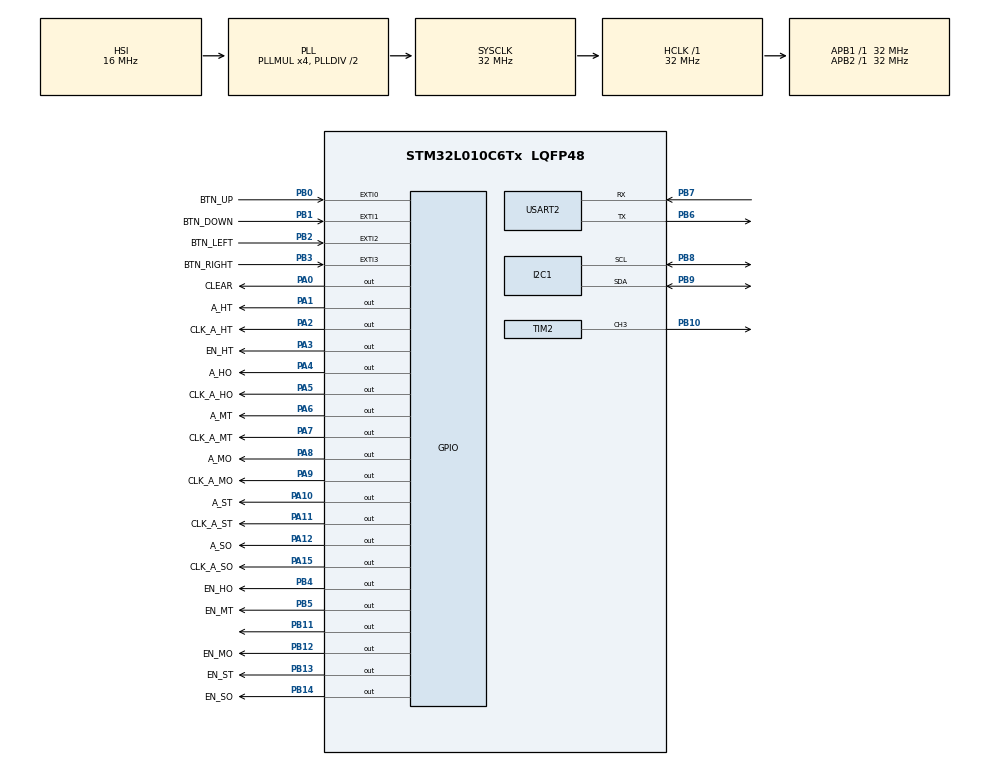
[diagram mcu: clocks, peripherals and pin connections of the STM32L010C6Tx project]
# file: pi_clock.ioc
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I2C1.Timing=0x00707CBB
Mcu.Family=STM32L0
Mcu.Name=STM32L010C6Tx
Mcu.Package=LQFP48
NVIC.EXTI0_1_IRQn=true\:0\:0\:false\:false\:true\:true\:true\:true
NVIC.EXTI2_3_IRQn=true\:0\:0\:false\:false\:true\:true\:true\:true
NVIC.TIM21_IRQn=true\:0\:0\:false\:false\:true\:true\:true\:true
PA0.GPIO_Label=CLEAR
PA0.GPIO_Speed=GPIO_SPEED_FREQ_HIGH
PA0.PinState=GPIO_PIN_RESET
PA0.Signal=GPIO_Output
PA1.GPIO_Label=A_HT
PA1.GPIO_Speed=GPIO_SPEED_FREQ_HIGH
PA1.PinState=GPIO_PIN_RESET
PA1.Signal=GPIO_Output
PA10.GPIO_Label=A_ST
PA10.GPIO_Speed=GPIO_SPEED_FREQ_HIGH
PA10.PinState=GPIO_PIN_RESET
PA10.Signal=GPIO_Output
PA11.GPIO_Label=CLK_A_ST
PA11.GPIO_Speed=GPIO_SPEED_FREQ_HIGH
PA11.PinState=GPIO_PIN_RESET
PA11.Signal=GPIO_Output
PA12.GPIO_Label=A_SO
PA12.GPIO_Speed=GPIO_SPEED_FREQ_HIGH
PA12.PinState=GPIO_PIN_RESET
PA12.Signal=GPIO_Output
PA15.GPIO_Label=CLK_A_SO
PA15.GPIO_Speed=GPIO_SPEED_FREQ_HIGH
PA15.PinState=GPIO_PIN_RESET
PA15.Signal=GPIO_Output
PA2.GPIO_Label=CLK_A_HT
PA2.GPIO_Speed=GPIO_SPEED_FREQ_HIGH
PA2.PinState=GPIO_PIN_RESET
PA2.Signal=GPIO_Output
PA3.GPIO_Label=EN_HT
PA3.GPIO_Speed=GPIO_SPEED_FREQ_VERY_HIGH
PA3.PinState=GPIO_PIN_RESET
PA3.Signal=GPIO_Output
PA4.GPIO_Label=A_HO
PA4.GPIO_Speed=GPIO_SPEED_FREQ_HIGH
PA4.PinState=GPIO_PIN_RESET
PA4.Signal=GPIO_Output
PA5.GPIO_Label=CLK_A_HO
PA5.GPIO_Speed=GPIO_SPEED_FREQ_HIGH
PA5.PinState=GPIO_PIN_RESET
PA5.Signal=GPIO_Output
PA6.GPIO_Label=A_MT
PA6.GPIO_Speed=GPIO_SPEED_FREQ_HIGH
PA6.PinState=GPIO_PIN_RESET
PA6.Signal=GPIO_Output
PA7.GPIO_Label=CLK_A_MT
PA7.GPIO_Speed=GPIO_SPEED_FREQ_HIGH
PA7.PinState=GPIO_PIN_RESET
PA7.Signal=GPIO_Output
PA8.GPIO_Label=A_MO
PA8.GPIO_Speed=GPIO_SPEED_FREQ_HIGH
PA8.PinState=GPIO_PIN_RESET
PA8.Signal=GPIO_Output
PA9.GPIO_Label=CLK_A_MO
PA9.GPIO_Speed=GPIO_SPEED_FREQ_HIGH
PA9.PinState=GPIO_PIN_RESET
PA9.Signal=GPIO_Output
PB0.GPIO_Label=BTN_UP
PB0.GPIO_ModeDefaultEXTI=GPIO_MODE_IT_RISING
PB0.GPIO_PuPd=GPIO_NOPULL
PB0.Signal=GPXTI0
PB1.GPIO_Label=BTN_DOWN
PB1.GPIO_ModeDefaultEXTI=GPIO_MODE_IT_RISING
PB1.Signal=GPXTI1
PB10.Signal=S_TIM2_CH3
PB11.Signal=GPIO_Output
PB12.GPIO_Label=EN_MO
PB12.GPIO_Speed=GPIO_SPEED_FREQ_HIGH
PB12.Signal=GPIO_Output
PB13.GPIO_Label=EN_ST
PB13.GPIO_Speed=GPIO_SPEED_FREQ_HIGH
PB13.Signal=GPIO_Output
PB14.GPIO_Label=EN_SO
PB14.GPIO_Speed=GPIO_SPEED_FREQ_HIGH
PB14.Signal=GPIO_Output
PB2.GPIO_Label=BTN_LEFT
PB2.GPIO_ModeDefaultEXTI=GPIO_MODE_IT_RISING
PB2.Signal=GPXTI2
PB3.GPIO_Label=BTN_RIGHT
PB3.GPIO_ModeDefaultEXTI=GPIO_MODE_IT_RISING
PB3.Signal=GPXTI3
PB4.GPIO_Label=EN_HO
PB4.GPIO_ModeDefaultOutputPP=GPIO_MODE_OUTPUT_PP
PB4.GPIO_Speed=GPIO_SPEED_FREQ_HIGH
PB4.Signal=GPIO_Output
PB5.GPIO_Label=EN_MT
PB5.GPIO_Speed=GPIO_SPEED_FREQ_HIGH
PB5.Signal=GPIO_Output
PB6.Mode=Asynchronous
PB6.Signal=USART2_TX
PB7.Mode=Asynchronous
PB7.Signal=USART2_RX
PB8.Mode=I2C
PB8.Signal=I2C1_SCL
PB9.Mode=I2C
PB9.Signal=I2C1_SDA
PC14-OSC32_IN.Mode=LSE-External-Oscillator
PC14-OSC32_IN.Signal=RCC_OSC32_IN
PC15-OSC32_OUT.Mode=LSE-External-Oscillator
PC15-OSC32_OUT.Signal=RCC_OSC32_OUT
ProjectManager.HeapSize=0x200
ProjectManager.StackSize=0x400
ProjectManager.TargetToolchain=STM32CubeIDE
RCC.AHBFreq_Value=32000000
RCC.APB1Freq_Value=32000000
RCC.APB1TimFreq_Value=32000000
RCC.APB2Freq_Value=32000000
RCC.APB2TimFreq_Value=32000000
RCC.HCLKFreq_Value=32000000
RCC.HSE_VALUE=8000000
RCC.HSI16_VALUE=16000000
RCC.HSI_VALUE=16000000
RCC.MSI_VALUE=2097000
RCC.PLLMUL=RCC_PLLMUL_4
RCC.RTCClockSelection=RCC_RTCCLKSOURCE_LSE
RCC.RTCClockSelectionVirtual=RCC_RTCCLKSOURCE_LSE
RCC.SYSCLKFreq_VALUE=32000000
RCC.SYSCLKSource=RCC_SYSCLKSOURCE_PLLCLK
RCC.VCOOutputFreq_Value=64000000
RTC.Year=25
SH.S_TIM2_CH3.0=TIM2_CH3,PWM Generation3 CH3
TIM2.AutoReloadPreload=TIM_AUTORELOAD_PRELOAD_ENABLE
TIM2.Channel-PWM\ Generation3\ CH3=TIM_CHANNEL_3
TIM2.Period=999
TIM2.Prescaler=31
TIM2.Pulse-PWM\ Generation3\ CH3=499
TIM21.Channel-Output\ Compare1\ No\ Output=TIM_CHANNEL_1
TIM21.Period=1000
TIM21.Prescaler=31
USART2.VirtualMode=VM_ASYNC
VP_RTC_VS_RTC_Activate.Mode=RTC_Enabled
VP_RTC_VS_RTC_Calendar.Mode=RTC_Calendar
VP_TIM21_VS_ClockSourceINT.Mode=Internal
VP_TIM21_VS_no_output1.Mode=Output Compare1 No Output
VP_TIM2_VS_ClockSourceINT.Mode=Internal
board=custom

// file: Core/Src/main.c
/* USER CODE BEGIN Header */
/**
 ******************************************************************************
 * @file           : main.c
 * @brief          : Main program body
 ******************************************************************************
 * @attention
 *
 * Copyright (c) 2024 STMicroelectronics.
 * All rights reserved.
 *
 * This software is licensed under terms that can be found in the LICENSE file
 * in the root directory of this software component.
 * If no LICENSE file comes with this software, it is provided AS-IS.
 *
 ******************************************************************************
 */
/* USER CODE END Header */
#include "main.h"

/* USER CODE BEGIN Includes */

#include "7_segment.h"
#include "critical_section.h"
#include "button.h"
#include "pi_serial.h"

/* USER CODE END Includes */

I2C_HandleTypeDef hi2c1;

RTC_HandleTypeDef hrtc;

TIM_HandleTypeDef htim2;
TIM_HandleTypeDef htim21;

UART_HandleTypeDef huart2;

void SystemClock_Config(void);
static void MX_GPIO_Init(void);
static void MX_I2C1_Init(void);
static void MX_RTC_Init(void);
static void MX_TIM2_Init(void);
static void MX_USART2_UART_Init(void);
static void MX_TIM21_Init(void);

/* USER CODE BEGIN 0 */
uint8_t ext_btn_up_value;
uint8_t ext_btn_down_value;
uint8_t ext_btn_left_value;
uint8_t ext_btn_right_value;
uint32_t clock_value;

/* USER CODE END 0 */

int main(void)
{
  /* USER CODE BEGIN 1 */
	clock_value = 0;

  /* USER CODE END 1 */

  /* MCU Configuration--------------------------------------------------------*/

  /* Reset of all peripherals, Initializes the Flash interface and the Systick. */
  HAL_Init();

  /* Configure the system clock */
  SystemClock_Config();

  /* Initialize all configured peripherals */
  MX_GPIO_Init();
  MX_I2C1_Init();
  MX_RTC_Init();
  MX_TIM2_Init();
  MX_USART2_UART_Init();
  MX_TIM21_Init();
  /* USER CODE BEGIN 2 */

  	  char rx_buffer[64];
  	  char tx_buffer[16];
  	  char time_buffer[32];
  	  char date_buffer[32];

	HAL_GPIO_WritePin(EN_HO_GPIO_Port, EN_HO_Pin, 0);
	HAL_GPIO_WritePin(EN_HT_GPIO_Port, EN_HT_Pin, 0);
	HAL_GPIO_WritePin(EN_MO_GPIO_Port, EN_MO_Pin, 0);
	HAL_GPIO_WritePin(EN_MT_GPIO_Port, EN_MT_Pin, 0);
	HAL_GPIO_WritePin(EN_SO_GPIO_Port, EN_SO_Pin, 0);
	HAL_GPIO_WritePin(EN_ST_GPIO_Port, EN_ST_Pin, 0);

	HAL_GPIO_WritePin(A_HT_GPIO_Port, A_HT_Pin, 1);
	HAL_GPIO_WritePin(CLEAR_GPIO_Port, CLEAR_Pin, 1);

	RTC_TimeTypeDef sTimeStamp;
	RTC_DateTypeDef sTimeStampDate;

	sTimeStamp.Hours = 23;
	sTimeStamp.Minutes = 59;
	sTimeStamp.Seconds = 58;

	sTimeStamp.DayLightSaving = RTC_DAYLIGHTSAVING_NONE;
	sTimeStamp.StoreOperation = RTC_STOREOPERATION_SET;

	sTimeStamp.StoreOperation = RTC_STOREOPERATION_SET;
	HAL_StatusTypeDef result;

	result = HAL_RTC_SetTime(&hrtc, &sTimeStamp, RTC_FORMAT_BIN);
	if(result != HAL_OK){
		while(1);
	}

	seven_segment hour_ten;
	seven_segment hour_one;
	seven_segment minute_ten;
	seven_segment minute_one;
	seven_segment second_ten;
	seven_segment second_one;

	display_segment disp_hour;
	display_segment disp_minute;
	display_segment disp_second;

	hour_ten.a_port = A_HT_GPIO_Port;
	hour_ten.a_pin = A_HT_Pin;
	hour_ten.clock_port = CLK_A_HT_GPIO_Port;
	hour_ten.clock_pin = CLK_A_HT_Pin;
	hour_ten.enable_port = EN_HT_GPIO_Port;
	hour_ten.enable_pin = EN_HT_Pin;
	hour_ten.enable_segment = 1;

	hour_one.a_port = A_HO_GPIO_Port;
	hour_one.a_pin = A_HO_Pin;
	hour_one.clock_port = CLK_A_HO_GPIO_Port;
	hour_one.clock_pin = CLK_A_HO_Pin;
	hour_one.enable_port = EN_HO_GPIO_Port;
	hour_one.enable_pin = EN_HO_Pin;
	hour_one.enable_segment = 1;

	minute_ten.a_port = A_MT_GPIO_Port;
	minute_ten.a_pin = A_MT_Pin;
	minute_ten.clock_port = CLK_A_MT_GPIO_Port;
	minute_ten.clock_pin = CLK_A_MT_Pin;
	minute_ten.enable_port = EN_MT_GPIO_Port;
	minute_ten.enable_pin = EN_MT_Pin;
	minute_ten.enable_segment = 1;

	minute_one.a_port = A_MO_GPIO_Port;
	minute_one.a_pin = A_MO_Pin;
	minute_one.clock_port = CLK_A_MO_GPIO_Port;
	minute_one.clock_pin = CLK_A_MO_Pin;
	minute_one.enable_port = EN_MO_GPIO_Port;
	minute_one.enable_pin = EN_MO_Pin;
	minute_one.enable_segment = 1;

	second_ten.a_port = A_ST_GPIO_Port;
	second_ten.a_pin = A_ST_Pin;
	second_ten.clock_port = CLK_A_ST_GPIO_Port;
	second_ten.clock_pin = CLK_A_ST_Pin;
	second_ten.enable_port = EN_ST_GPIO_Port;
	second_ten.enable_pin = EN_ST_Pin;
	second_ten.enable_segment = 1;

	second_one.a_port = A_SO_GPIO_Port;
	second_one.a_pin = A_SO_Pin;
	second_one.clock_port = CLK_A_SO_GPIO_Port;
	second_one.clock_pin = CLK_A_SO_Pin;
	second_one.enable_port = EN_SO_GPIO_Port;
	second_one.enable_pin = EN_SO_Pin;
	second_one.enable_segment = 1;

	disp_hour.ten = &hour_ten;
	disp_hour.one = &hour_one;
	disp_hour.data = 00;
	disp_hour.data_old = 255;

	disp_minute.ten = &minute_ten;
	disp_minute.one = &minute_one;
	disp_minute.data = 00;
	disp_minute.data_old = 255;

	disp_second.ten = &second_ten;
	disp_second.one = &second_one;
	disp_second.data = 00;
	disp_second.data_old = 255;

	Button button_up = {
			BUTTON_IDLE,
			BUTTON_LONG_PRESS,
			0,
			0,
			0,
			BTN_UP_GPIO_Port,
			BTN_UP_Pin
	};

	Button button_down = {
			BUTTON_IDLE,
			BUTTON_LONG_PRESS,
			0,
			0,
			0,
			BTN_DOWN_GPIO_Port,
			BTN_DOWN_Pin
	};
	Button button_left = {
			BUTTON_IDLE,
			BUTTON_LONG_PRESS,
			0,
			0,
			0,
			BTN_LEFT_GPIO_Port,
			BTN_LEFT_Pin
	};
	Button button_right = {
			BUTTON_IDLE,
			BUTTON_LONG_PRESS,
			0,
			0,
			0,
			BTN_RIGHT_GPIO_Port,
			BTN_RIGHT_Pin
	};

	button_up.state_old = 0;
	button_down.state_old = 0;
	button_left.state_old = 0;

	DisplayState display_state = DISPLAY_INIT;
	PiTime pi_times;
	uint8_t dot = 0;

  /* USER CODE END 2 */

  /* Infinite loop */
	while (1) {

    /* USER CODE BEGIN 3 */
		process_button(&button_up);
		process_button(&button_down);
		process_button(&button_left);
		process_button(&button_right);

		if(button_up.state == BUTTON_PRESSED){
			if(button_up.state_old == 0){
				button_up.state_old = 1;
				if(display_state == DISPLAY_TIME){
					display_state = DISPLAY_DATE;
				}else{
					display_state = DISPLAY_TIME;
				}
			}
		}else if(button_up.state == BUTTON_RELEASED){
			button_up.state_old = 0;
		}

		if (button_down.state == BUTTON_LONG_PRESS) {
			if(button_down.state_old == 0){
				button_down.state_old = 1;
				send_uart_command("time");
				receive_uart_response(time_buffer, sizeof(time_buffer));
				parse_time_string(time_buffer, &pi_times);

				sTimeStamp.Hours = (uint8_t) pi_times.hours;
				sTimeStamp.Minutes = (uint8_t) pi_times.minutes;
				sTimeStamp.Seconds = (uint8_t) pi_times.seconds;

				sTimeStamp.DayLightSaving = RTC_DAYLIGHTSAVING_NONE;
				sTimeStamp.StoreOperation = RTC_STOREOPERATION_SET;

				sTimeStamp.StoreOperation = RTC_STOREOPERATION_SET;
				HAL_StatusTypeDef result;

				result = HAL_RTC_SetTime(&hrtc, &sTimeStamp, RTC_FORMAT_BIN);
				if(result != HAL_OK){
					while(1);
				}
			}
		}else if(button_down.state == BUTTON_RELEASED){
			button_down.state_old = 0;
		}

		if (button_left.state == BUTTON_LONG_PRESS) {
			if(button_left.state_old == 0){
				button_left.state_old = 1;
				send_uart_command("date");
				receive_uart_response(date_buffer, sizeof(date_buffer));
				parse_date_string(date_buffer, &pi_times);

				sTimeStampDate.Year = (uint8_t) (pi_times.years % 100);
				sTimeStampDate.Month = (uint8_t) pi_times.months;
				sTimeStampDate.Date = (uint8_t) pi_times.seconds;

				result = HAL_RTC_SetTime(&hrtc, &sTimeStamp, RTC_FORMAT_BIN);
				result = HAL_RTC_SetDate(&hrtc, &sTimeStampDate, RTC_FORMAT_BIN);
				if(result != HAL_OK){
					while(1);
				}
			}
		}else if(button_left.state == BUTTON_RELEASED){
			button_left.state_old = 0;
		}

		result = HAL_RTC_GetDate(&hrtc, &sTimeStampDate, RTC_FORMAT_BIN);
		result = HAL_RTC_GetTime(&hrtc, &sTimeStamp, RTC_FORMAT_BIN);

		switch(display_state){
		case DISPLAY_INIT:
			display_state = DISPLAY_TIME;
			break;
		case DISPLAY_TIME:
			disp_hour.data = sTimeStamp.Hours;
			disp_minute.data = sTimeStamp.Minutes;
			disp_second.data = sTimeStamp.Seconds;
			dot = 0;
			break;
		case DISPLAY_DATE:
			disp_hour.data = sTimeStampDate.Date;
			disp_minute.data = sTimeStampDate.Month;
			disp_second.data = sTimeStampDate.Year;
			dot = 1;
			break;
		case DISPLAY_TEMPERATURE:
			break;
		default:
			break;
		}

		display_write_segment(&disp_hour, dot);
		display_write_segment(&disp_minute, dot);
		display_write_segment(&disp_second, dot);

		HAL_Delay(10);
	}
  /* USER CODE END 3 */
}

void SystemClock_Config(void)
{
  RCC_OscInitTypeDef RCC_OscInitStruct = {0};
  RCC_ClkInitTypeDef RCC_ClkInitStruct = {0};
  RCC_PeriphCLKInitTypeDef PeriphClkInit = {0};

  /** Configure the main internal regulator output voltage
  */
  __HAL_PWR_VOLTAGESCALING_CONFIG(PWR_REGULATOR_VOLTAGE_SCALE1);

  /** Configure LSE Drive Capability
  */
  HAL_PWR_EnableBkUpAccess();
  __HAL_RCC_LSEDRIVE_CONFIG(RCC_LSEDRIVE_LOW);

  /** Initializes the RCC Oscillators according to the specified parameters
  * in the RCC_OscInitTypeDef structure.
  */
  RCC_OscInitStruct.OscillatorType = RCC_OSCILLATORTYPE_HSI|RCC_OSCILLATORTYPE_LSE;
  RCC_OscInitStruct.LSEState = RCC_LSE_ON;
  RCC_OscInitStruct.HSIState = RCC_HSI_ON;
  RCC_OscInitStruct.HSICalibrationValue = RCC_HSICALIBRATION_DEFAULT;
  RCC_OscInitStruct.PLL.PLLState = RCC_PLL_ON;
  RCC_OscInitStruct.PLL.PLLSource = RCC_PLLSOURCE_HSI;
  RCC_OscInitStruct.PLL.PLLMUL = RCC_PLLMUL_4;
  RCC_OscInitStruct.PLL.PLLDIV = RCC_PLLDIV_2;
  if (HAL_RCC_OscConfig(&RCC_OscInitStruct) != HAL_OK)
  {
    Error_Handler();
  }

  /** Initializes the CPU, AHB and APB buses clocks
  */
  RCC_ClkInitStruct.ClockType = RCC_CLOCKTYPE_HCLK|RCC_CLOCKTYPE_SYSCLK
                              |RCC_CLOCKTYPE_PCLK1|RCC_CLOCKTYPE_PCLK2;
  RCC_ClkInitStruct.SYSCLKSource = RCC_SYSCLKSOURCE_PLLCLK;
  RCC_ClkInitStruct.AHBCLKDivider = RCC_SYSCLK_DIV1;
  RCC_ClkInitStruct.APB1CLKDivider = RCC_HCLK_DIV1;
  RCC_ClkInitStruct.APB2CLKDivider = RCC_HCLK_DIV1;

  if (HAL_RCC_ClockConfig(&RCC_ClkInitStruct, FLASH_LATENCY_1) != HAL_OK)
  {
    Error_Handler();
  }
  PeriphClkInit.PeriphClockSelection = RCC_PERIPHCLK_USART2|RCC_PERIPHCLK_I2C1
                              |RCC_PERIPHCLK_RTC;
  PeriphClkInit.Usart2ClockSelection = RCC_USART2CLKSOURCE_PCLK1;
  PeriphClkInit.I2c1ClockSelection = RCC_I2C1CLKSOURCE_PCLK1;
  PeriphClkInit.RTCClockSelection = RCC_RTCCLKSOURCE_LSE;
  if (HAL_RCCEx_PeriphCLKConfig(&PeriphClkInit) != HAL_OK)
  {
    Error_Handler();
  }
}

static void MX_I2C1_Init(void)
{

  hi2c1.Instance = I2C1;
  hi2c1.Init.Timing = 0x00707CBB;
  hi2c1.Init.OwnAddress1 = 0;
  hi2c1.Init.AddressingMode = I2C_ADDRESSINGMODE_7BIT;
  hi2c1.Init.DualAddressMode = I2C_DUALADDRESS_DISABLE;
  hi2c1.Init.OwnAddress2 = 0;
  hi2c1.Init.OwnAddress2Masks = I2C_OA2_NOMASK;
  hi2c1.Init.GeneralCallMode = I2C_GENERALCALL_DISABLE;
  hi2c1.Init.NoStretchMode = I2C_NOSTRETCH_DISABLE;
  if (HAL_I2C_Init(&hi2c1) != HAL_OK)
  {
    Error_Handler();
  }

  /** Configure Analogue filter
  */
  if (HAL_I2CEx_ConfigAnalogFilter(&hi2c1, I2C_ANALOGFILTER_ENABLE) != HAL_OK)
  {
    Error_Handler();
  }

  /** Configure Digital filter
  */
  if (HAL_I2CEx_ConfigDigitalFilter(&hi2c1, 0) != HAL_OK)
  {
    Error_Handler();
  }

}

static void MX_RTC_Init(void)
{

  RTC_TimeTypeDef sTime = {0};
  RTC_DateTypeDef sDate = {0};

  /** Initialize RTC Only
  */
  hrtc.Instance = RTC;
  hrtc.Init.HourFormat = RTC_HOURFORMAT_24;
  hrtc.Init.AsynchPrediv = 127;
  hrtc.Init.SynchPrediv = 255;
  hrtc.Init.OutPut = RTC_OUTPUT_DISABLE;
  hrtc.Init.OutPutRemap = RTC_OUTPUT_REMAP_NONE;
  hrtc.Init.OutPutPolarity = RTC_OUTPUT_POLARITY_HIGH;
  hrtc.Init.OutPutType = RTC_OUTPUT_TYPE_OPENDRAIN;
  if (HAL_RTC_Init(&hrtc) != HAL_OK)
  {
    Error_Handler();
  }

  /** Initialize RTC and set the Time and Date
  */
  sTime.Hours = 0x0;
  sTime.Minutes = 0x0;
  sTime.Seconds = 0x0;
  sTime.DayLightSaving = RTC_DAYLIGHTSAVING_NONE;
  sTime.StoreOperation = RTC_STOREOPERATION_RESET;
  if (HAL_RTC_SetTime(&hrtc, &sTime, RTC_FORMAT_BCD) != HAL_OK)
  {
    Error_Handler();
  }
  sDate.WeekDay = RTC_WEEKDAY_MONDAY;
  sDate.Month = RTC_MONTH_JANUARY;
  sDate.Date = 0x1;
  sDate.Year = 0x25;

  if (HAL_RTC_SetDate(&hrtc, &sDate, RTC_FORMAT_BCD) != HAL_OK)
  {
    Error_Handler();
  }

}

static void MX_TIM2_Init(void)
{

  TIM_ClockConfigTypeDef sClockSourceConfig = {0};
  TIM_MasterConfigTypeDef sMasterConfig = {0};
  TIM_OC_InitTypeDef sConfigOC = {0};

  htim2.Instance = TIM2;
  htim2.Init.Prescaler = 31;
  htim2.Init.CounterMode = TIM_COUNTERMODE_UP;
  htim2.Init.Period = 999;
  htim2.Init.ClockDivision = TIM_CLOCKDIVISION_DIV1;
  htim2.Init.AutoReloadPreload = TIM_AUTORELOAD_PRELOAD_ENABLE;
  if (HAL_TIM_Base_Init(&htim2) != HAL_OK)
  {
    Error_Handler();
  }
  sClockSourceConfig.ClockSource = TIM_CLOCKSOURCE_INTERNAL;
  if (HAL_TIM_ConfigClockSource(&htim2, &sClockSourceConfig) != HAL_OK)
  {
    Error_Handler();
  }
  if (HAL_TIM_PWM_Init(&htim2) != HAL_OK)
  {
    Error_Handler();
  }
  sMasterConfig.MasterOutputTrigger = TIM_TRGO_RESET;
  sMasterConfig.MasterSlaveMode = TIM_MASTERSLAVEMODE_DISABLE;
  if (HAL_TIMEx_MasterConfigSynchronization(&htim2, &sMasterConfig) != HAL_OK)
  {
    Error_Handler();
  }
  sConfigOC.OCMode = TIM_OCMODE_PWM1;
  sConfigOC.Pulse = 499;
  sConfigOC.OCPolarity = TIM_OCPOLARITY_HIGH;
  sConfigOC.OCFastMode = TIM_OCFAST_DISABLE;
  if (HAL_TIM_PWM_ConfigChannel(&htim2, &sConfigOC, TIM_CHANNEL_3) != HAL_OK)
  {
    Error_Handler();
  }
  HAL_TIM_MspPostInit(&htim2);

}

static void MX_TIM21_Init(void)
{

  TIM_ClockConfigTypeDef sClockSourceConfig = {0};
  TIM_MasterConfigTypeDef sMasterConfig = {0};
  TIM_OC_InitTypeDef sConfigOC = {0};

  htim21.Instance = TIM21;
  htim21.Init.Prescaler = 31;
  htim21.Init.CounterMode = TIM_COUNTERMODE_UP;
  htim21.Init.Period = 1000;
  htim21.Init.ClockDivision = TIM_CLOCKDIVISION_DIV1;
  htim21.Init.AutoReloadPreload = TIM_AUTORELOAD_PRELOAD_DISABLE;
  if (HAL_TIM_Base_Init(&htim21) != HAL_OK)
  {
    Error_Handler();
  }
  sClockSourceConfig.ClockSource = TIM_CLOCKSOURCE_INTERNAL;
  if (HAL_TIM_ConfigClockSource(&htim21, &sClockSourceConfig) != HAL_OK)
  {
    Error_Handler();
  }
  if (HAL_TIM_OC_Init(&htim21) != HAL_OK)
  {
    Error_Handler();
  }
  sMasterConfig.MasterOutputTrigger = TIM_TRGO_RESET;
  sMasterConfig.MasterSlaveMode = TIM_MASTERSLAVEMODE_DISABLE;
  if (HAL_TIMEx_MasterConfigSynchronization(&htim21, &sMasterConfig) != HAL_OK)
  {
    Error_Handler();
  }
  sConfigOC.OCMode = TIM_OCMODE_TIMING;
  sConfigOC.Pulse = 0;
  sConfigOC.OCPolarity = TIM_OCPOLARITY_HIGH;
  sConfigOC.OCFastMode = TIM_OCFAST_DISABLE;
  if (HAL_TIM_OC_ConfigChannel(&htim21, &sConfigOC, TIM_CHANNEL_1) != HAL_OK)
  {
    Error_Handler();
  }

}

static void MX_USART2_UART_Init(void)
{

  huart2.Instance = USART2;
  huart2.Init.BaudRate = 115200;
  huart2.Init.WordLength = UART_WORDLENGTH_8B;
  huart2.Init.StopBits = UART_STOPBITS_1;
  huart2.Init.Parity = UART_PARITY_NONE;
  huart2.Init.Mode = UART_MODE_TX_RX;
  huart2.Init.HwFlowCtl = UART_HWCONTROL_NONE;
  huart2.Init.OverSampling = UART_OVERSAMPLING_16;
  huart2.Init.OneBitSampling = UART_ONE_BIT_SAMPLE_DISABLE;
  huart2.AdvancedInit.AdvFeatureInit = UART_ADVFEATURE_NO_INIT;
  if (HAL_UART_Init(&huart2) != HAL_OK)
  {
    Error_Handler();
  }

}

static void MX_GPIO_Init(void)
{
  GPIO_InitTypeDef GPIO_InitStruct = {0};

  /* GPIO Ports Clock Enable */
  __HAL_RCC_GPIOC_CLK_ENABLE();
  __HAL_RCC_GPIOA_CLK_ENABLE();
  __HAL_RCC_GPIOB_CLK_ENABLE();

  /*Configure GPIO pin Output Level */
  HAL_GPIO_WritePin(GPIOA, CLEAR_Pin|A_HT_Pin|CLK_A_HT_Pin|EN_HT_Pin
                          |A_HO_Pin|CLK_A_HO_Pin|A_MT_Pin|CLK_A_MT_Pin
                          |A_MO_Pin|CLK_A_MO_Pin|A_ST_Pin|CLK_A_ST_Pin
                          |A_SO_Pin|CLK_A_SO_Pin, GPIO_PIN_RESET);

  /*Configure GPIO pin Output Level */
  HAL_GPIO_WritePin(GPIOB, GPIO_PIN_11|EN_MO_Pin|EN_ST_Pin|EN_SO_Pin
                          |EN_HO_Pin|EN_MT_Pin, GPIO_PIN_RESET);

  /*Configure GPIO pins : CLEAR_Pin A_HT_Pin CLK_A_HT_Pin A_HO_Pin
                           CLK_A_HO_Pin A_MT_Pin CLK_A_MT_Pin A_MO_Pin
                           CLK_A_MO_Pin A_ST_Pin CLK_A_ST_Pin A_SO_Pin
                           CLK_A_SO_Pin */
  GPIO_InitStruct.Pin = CLEAR_Pin|A_HT_Pin|CLK_A_HT_Pin|A_HO_Pin
                          |CLK_A_HO_Pin|A_MT_Pin|CLK_A_MT_Pin|A_MO_Pin
                          |CLK_A_MO_Pin|A_ST_Pin|CLK_A_ST_Pin|A_SO_Pin
                          |CLK_A_SO_Pin;
  GPIO_InitStruct.Mode = GPIO_MODE_OUTPUT_PP;
  GPIO_InitStruct.Pull = GPIO_NOPULL;
  GPIO_InitStruct.Speed = GPIO_SPEED_FREQ_HIGH;
  HAL_GPIO_Init(GPIOA, &GPIO_InitStruct);

  /*Configure GPIO pin : EN_HT_Pin */
  GPIO_InitStruct.Pin = EN_HT_Pin;
  GPIO_InitStruct.Mode = GPIO_MODE_OUTPUT_PP;
  GPIO_InitStruct.Pull = GPIO_NOPULL;
  GPIO_InitStruct.Speed = GPIO_SPEED_FREQ_VERY_HIGH;
  HAL_GPIO_Init(EN_HT_GPIO_Port, &GPIO_InitStruct);

  /*Configure GPIO pins : BTN_UP_Pin BTN_DOWN_Pin BTN_LEFT_Pin BTN_RIGHT_Pin */
  GPIO_InitStruct.Pin = BTN_UP_Pin|BTN_DOWN_Pin|BTN_LEFT_Pin|BTN_RIGHT_Pin;
  GPIO_InitStruct.Mode = GPIO_MODE_IT_RISING;
  GPIO_InitStruct.Pull = GPIO_NOPULL;
  HAL_GPIO_Init(GPIOB, &GPIO_InitStruct);

  /*Configure GPIO pin : PB11 */
  GPIO_InitStruct.Pin = GPIO_PIN_11;
  GPIO_InitStruct.Mode = GPIO_MODE_OUTPUT_PP;
  GPIO_InitStruct.Pull = GPIO_NOPULL;
  GPIO_InitStruct.Speed = GPIO_SPEED_FREQ_LOW;
  HAL_GPIO_Init(GPIOB, &GPIO_InitStruct);

  /*Configure GPIO pins : EN_MO_Pin EN_ST_Pin EN_SO_Pin EN_HO_Pin
                           EN_MT_Pin */
  GPIO_InitStruct.Pin = EN_MO_Pin|EN_ST_Pin|EN_SO_Pin|EN_HO_Pin
                          |EN_MT_Pin;
  GPIO_InitStruct.Mode = GPIO_MODE_OUTPUT_PP;
  GPIO_InitStruct.Pull = GPIO_NOPULL;
  GPIO_InitStruct.Speed = GPIO_SPEED_FREQ_HIGH;
  HAL_GPIO_Init(GPIOB, &GPIO_InitStruct);

  /* EXTI interrupt init*/
  HAL_NVIC_SetPriority(EXTI0_1_IRQn, 0, 0);
  HAL_NVIC_EnableIRQ(EXTI0_1_IRQn);

  HAL_NVIC_SetPriority(EXTI2_3_IRQn, 0, 0);
  HAL_NVIC_EnableIRQ(EXTI2_3_IRQn);

}

void Error_Handler(void)
{
	__disable_irq();
	while (1) {
	}
}
